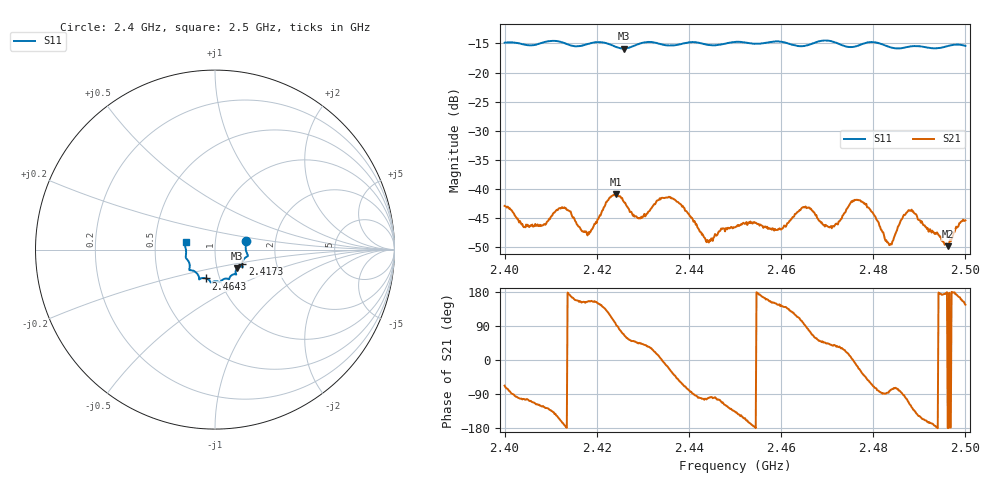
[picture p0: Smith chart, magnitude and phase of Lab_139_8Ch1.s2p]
# Hz S RI R 50
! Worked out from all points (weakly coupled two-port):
!   601 points, 2.4 GHz to 2.5 GHz, reference 50 ohm
!   highest |S21| = -40.88 dB at 2.4242 GHz (marker M1); lowest = -49.8 dB at 2.4962 GHz (marker M2)
!   lowest |S11| = -15.9 dB at 2.4258 GHz (marker M3), VSWR 1.38, Z = 62.4 - j13.3 ohm
!   |S11| at or under -10 dB: start of sweep to end of sweep
!   S12 and S22 are empty: the file has one direction only
!   S11 on the Smith chart (normalised r, x): 2.4 GHz: 1.41, +0.14; 2.4173 GHz: 1.34, -0.22; 2.4643 GHz: 0.86, -0.28; 2.5 GHz: 0.72, +0.06
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2.4e9  0.1733 0.0492  0.00272 -0.00664  0 0  0 0
2.4045e9  0.1718 0.0199  -0.00121 -0.00454  0 0  0 0
2.4085e9  0.1801 -0.0255  -0.00276 -0.00414  0 0  0 0
2.412833e9  0.1751 -0.0409  -0.00679 -0.00123  0 0  0 0
2.416667e9  0.1525 -0.0741  -0.00391 0.0021  0 0  0 0
2.417333e9  0.1518 -0.0816  -0.00388 0.00197  0 0  0 0
2.424167e9  0.1358 -0.0951  -0.000567 0.00902  0 0  0 0
2.425833e9  0.1223 -0.1039  0.0029 0.00728  0 0  0 0
2.429333e9  0.1161 -0.1341  0.00399 0.00403  0 0  0 0
2.433333e9  0.1123 -0.1375  0.00785 0.00174  0 0  0 0
2.437833e9  0.083 -0.1529  0.0044 -0.00618  0 0  0 0
2.444167e9  0.0621 -0.161  -0.000666 -0.00348  0 0  0 0
2.45e9  0.0287 -0.1811  -0.00339 -0.00325  0 0  0 0
2.459667e9  -0.0239 -0.1829  -0.00385 0.00253  0 0  0 0
2.464333e9  -0.0496 -0.1606  -0.00164 0.00657  0 0  0 0
2.466667e9  -0.0759 -0.1593  0.00252 0.00607  0 0  0 0
2.471e9  -0.0878 -0.1631  0.00359 0.0029  0 0  0 0
2.477167e9  -0.1284 -0.1157  0.00717 -0.00361  0 0  0 0
2.483333e9  -0.1405 -0.0895  0.000217 -0.00342  0 0  0 0
2.488167e9  -0.1602 -0.0494  -0.00329 -0.00567  0 0  0 0
2.496167e9  -0.1674 0.0209  -0.00324 -2.22e-05  0 0  0 0
2.5e9  -0.164 0.0431  -0.00447 0.00301  0 0  0 0
